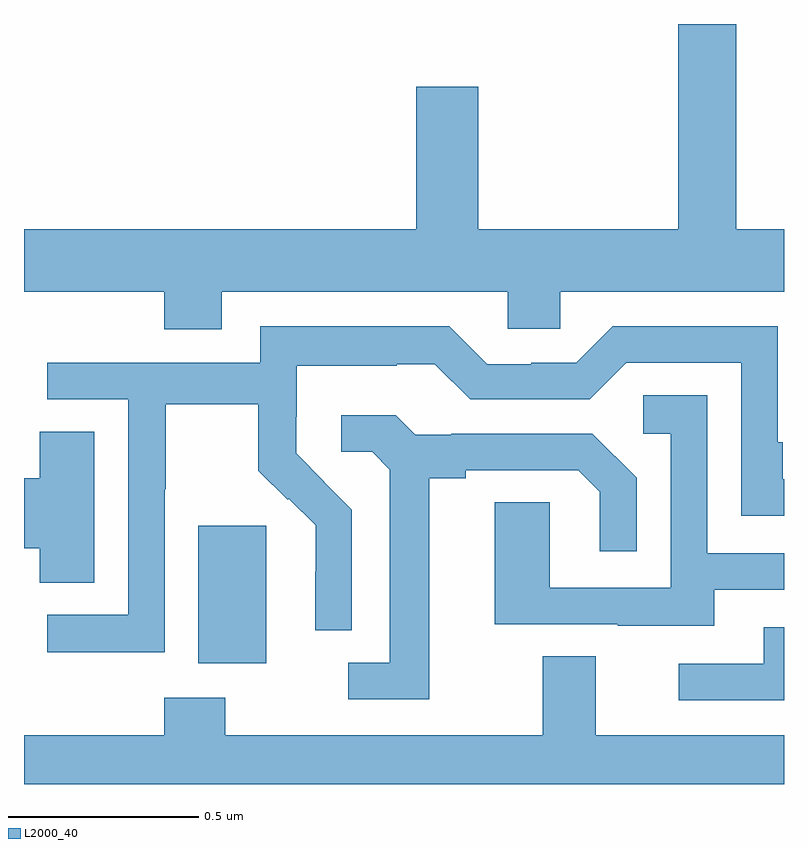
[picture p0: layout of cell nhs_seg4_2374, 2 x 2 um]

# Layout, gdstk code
import gdstk
lib = gdstk.Library(unit=1e-6, precision=1e-09)
def R(c, l, rs):  # rectangles x0, y0, x1, y1
    for r in rs: c.add(gdstk.rectangle(r[:2], r[2:], *l))
def P(c, l, *ps):  # polygons
    for p in ps: c.add(gdstk.Polygon(p, *l))
L2000_40 = (2000, 40)

nhs_seg4_2374 = lib.new_cell('nhs_seg4_2374')
R(nhs_seg4_2374, L2000_40, [(140.459,753.218,140.638,753.579)])
P(nhs_seg4_2374, L2000_40, [(140.521,754.196),(141.273,754.196),(141.273,754.098),(141.411,754.098),(141.411,754.196),(142,754.196),(142,754.36),(141.874,754.36),(141.874,754.9),(141.722,754.9),(141.722,754.36),(141.196,754.36),(141.196,754.735),(141.032,754.735),(141.032,754.36),(140,754.36),(140,754.196),(140.369,754.196),(140.369,754.097),(140.521,754.097)],
  [(140.274,753.912),(140.274,753.345),(140.061,753.345),(140.061,753.247),(140.37,753.247),(140.37,753.676),(140.373,753.676),(140.373,753.9),(140.617,753.9),(140.617,753.725),(140.694,753.648),(140.697,753.651),(140.768,753.581),(140.768,753.458),(140.766,753.458),(140.766,753.304),(140.862,753.304),(140.862,753.622),(140.789,753.695),(140.79,753.696),(140.716,753.77),(140.716,753.867),(140.718,753.867),(140.718,754.001),(140.981,754.001),(140.981,754.005),(141.081,754.005),(141.174,753.912),(141.489,753.912),(141.585,754.008),(141.888,754.008),(141.888,753.606),(142,753.606),(142,753.702),(141.997,753.702),(141.997,753.799),(141.984,753.799),(141.984,754.104),(141.549,754.104),(141.453,754.008),(141.335,754.008),(141.335,754.005),(141.219,754.005),(141.119,754.105),(140.622,754.105),(140.622,754.008),(140.061,754.008),(140.061,753.912)],
  [(141.817,753.411),(142,753.411),(142,753.507),(141.798,753.507),(141.798,753.923),(141.63,753.923),(141.63,753.822),(141.702,753.822),(141.702,753.417),(141.384,753.417),(141.384,753.641),(141.239,753.641),(141.239,753.321),(141.563,753.321),(141.563,753.317),(141.817,753.317)],
  [(141.067,753.704),(141.163,753.704),(141.163,753.726),(141.458,753.726),(141.515,753.669),(141.515,753.513),(141.612,753.513),(141.612,753.706),(141.496,753.822),(141.124,753.822),(141.124,753.819),(141.03,753.819),(140.978,753.871),(140.835,753.871),(140.835,753.774),(140.916,753.774),(140.963,753.727),(140.963,753.219),(140.853,753.219),(140.853,753.123),(141.067,753.123)],
  [(140.185,753.827),(140.042,753.827),(140.042,753.704),(140,753.704),(140,753.521),(140.042,753.521),(140.042,753.43),(140.185,753.43)],
  [(142,753.312),(141.947,753.312),(141.947,753.216),(141.723,753.216),(141.723,753.12),(142,753.12)],
  [(142,753.028),(141.505,753.028),(141.505,753.236),(141.365,753.236),(141.365,753.028),(140.529,753.028),(140.529,753.127),(140.369,753.127),(140.369,753.028),(140,753.028),(140,752.9),(142,752.9)])

lib.write_gds('nhs_seg4_2374.gds')
